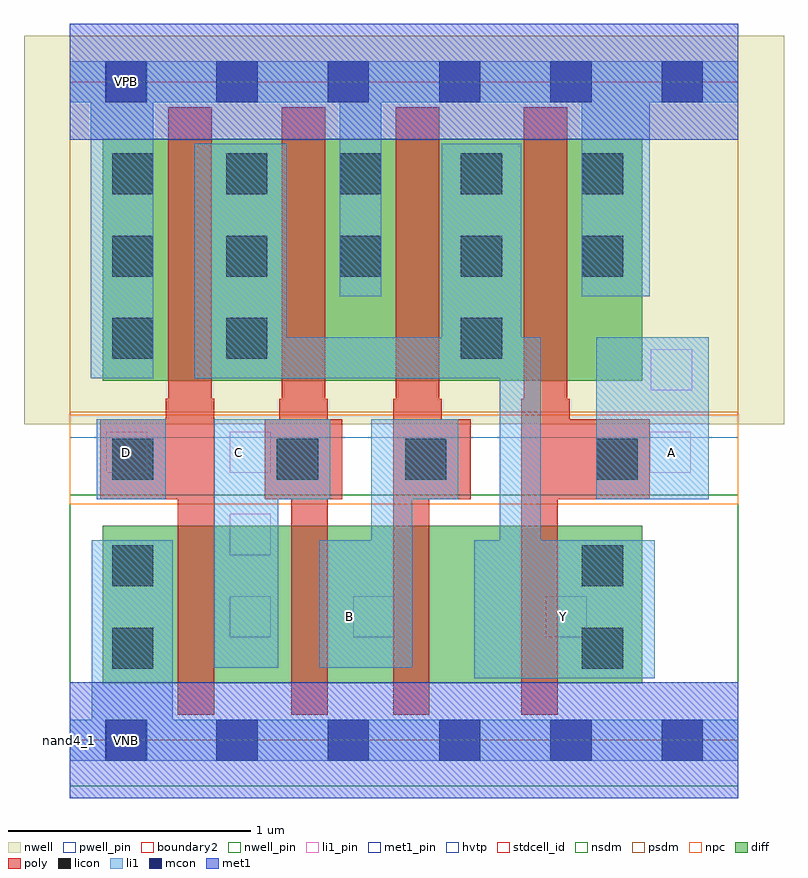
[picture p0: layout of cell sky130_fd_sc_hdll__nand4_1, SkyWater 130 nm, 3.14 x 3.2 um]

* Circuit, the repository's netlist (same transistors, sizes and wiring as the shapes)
* Copyright 2020 The SkyWater PDK Authors
*
* Licensed under the Apache License, Version 2.0 (the "License");
* you may not use this file except in compliance with the License.
* You may obtain a copy of the License at
*
*     https://www.apache.org/licenses/LICENSE-2.0
*
* Unless required by applicable law or agreed to in writing, software
* distributed under the License is distributed on an "AS IS" BASIS,
* WITHOUT WARRANTIES OR CONDITIONS OF ANY KIND, either express or implied.
* See the License for the specific language governing permissions and
* limitations under the License.
*
* SPDX-License-Identifier: Apache-2.0

.SUBCKT sky130_fd_sc_hdll__nand4_1 A B C D VGND VNB VPB VPWR Y
*.PININFO A:I B:I C:I D:I VGND:I VNB:I VPB:I VPWR:I Y:O
MMP0 Y A VPWR VPB sky130_fd_pr__pfet_01v8_hvt m=1 w=1.0U l=0.18U mult=1 sa=0.265
+ sb=0.265 sd=0.28 area=0.063 perim=1.14
MMP1 Y B VPWR VPB sky130_fd_pr__pfet_01v8_hvt m=1 w=1.0U l=0.18U mult=1 sa=0.265
+ sb=0.265 sd=0.28 area=0.063 perim=1.14
MMP3 Y D VPWR VPB sky130_fd_pr__pfet_01v8_hvt m=1 w=1.0U l=0.18U mult=1 sa=0.265
+ sb=0.265 sd=0.28 area=0.063 perim=1.14
MMP2 Y C VPWR VPB sky130_fd_pr__pfet_01v8_hvt m=1 w=1.0U l=0.18U mult=1 sa=0.265
+ sb=0.265 sd=0.28 area=0.063 perim=1.14
MMN0 Y A sndA VNB sky130_fd_pr__nfet_01v8 m=1 w=0.65U l=0.15U mult=1 sa=0.265 sb=0.265
+ sd=0.28 area=0.063 perim=1.14
MMN1 sndA B sndB VNB sky130_fd_pr__nfet_01v8 m=1 w=0.65U l=0.15U mult=1 sa=0.265
+ sb=0.265 sd=0.28 area=0.063 perim=1.14
MMN2 sndB C sndC VNB sky130_fd_pr__nfet_01v8 m=1 w=0.65U l=0.15U mult=1 sa=0.265
+ sb=0.265 sd=0.28 area=0.063 perim=1.14
MMN3 sndC D VGND VNB sky130_fd_pr__nfet_01v8 m=1 w=0.65U l=0.15U mult=1 sa=0.265
+ sb=0.265 sd=0.28 area=0.063 perim=1.14
.ENDS sky130_fd_sc_hdll__nand4_1

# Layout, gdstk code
import gdstk
lib = gdstk.Library(unit=1e-6, precision=1e-09)
def R(c, l, rs):  # rectangles x0, y0, x1, y1
    for r in rs: c.add(gdstk.rectangle(r[:2], r[2:], *l))
def A(c, l, x, y, w, h, nx, ny, dx, dy):  # array of equal rectangles
    R(c, l, [(x+i*dx, y+j*dy, x+i*dx+w, y+j*dy+h) for i in range(nx) for j in range(ny)])
def P(c, l, *ps):  # polygons
    for p in ps: c.add(gdstk.Polygon(p, *l))
nwell_pin = (64, 16)
nwell = (64, 20)
diff = (65, 20)
poly = (66, 20)
licon = (66, 44)
li1_pin = (67, 16)
li1 = (67, 20)
mcon = (67, 44)
met1_pin = (68, 16)
met1 = (68, 20)
hvtp = (78, 44)
stdcell_id = (81, 4)
nsdm = (93, 44)
psdm = (94, 20)
npc = (95, 20)
pwell_pin = (122, 16)
boundary2 = (236, 0)

sky130_fd_sc_hdll__nand4 = lib.new_cell('sky130_fd_sc_hdll__nand4_1')
R(sky130_fd_sc_hdll__nand4, nwell_pin, [(0.15,2.635,0.32,2.805)])
R(sky130_fd_sc_hdll__nand4, nwell, [(-0.19,1.305,2.95,2.91)])
R(sky130_fd_sc_hdll__nand4, diff, [(0.135,0.235,2.365,0.885), (0.135,1.485,2.365,2.485)])
P(sky130_fd_sc_hdll__nand4, poly, [(0.595,1.41),(0.585,1.41),(0.585,2.615),(0.405,2.615),(0.405,1.41),(0.395,1.41),(0.395,1.325),(0.125,1.325),(0.125,0.995),(0.445,0.995),(0.445,0.105),(0.595,0.105)],
  [(1.125,1.325),(1.065,1.325),(1.065,1.41),(1.055,1.41),(1.055,2.615),(0.875,2.615),(0.875,1.41),(0.865,1.41),(0.865,1.325),(0.805,1.325),(0.805,0.995),(0.915,0.995),(0.915,0.105),(1.065,0.105),(1.065,0.995),(1.125,0.995)],
  [(1.655,1.325),(1.535,1.325),(1.535,1.41),(1.525,1.41),(1.525,2.615),(1.345,2.615),(1.345,1.41),(1.335,1.41),(1.335,0.105),(1.485,0.105),(1.485,0.995),(1.655,0.995)],
  [(2.395,1.325),(2.065,1.325),(2.065,1.41),(2.055,1.41),(2.055,2.615),(1.875,2.615),(1.875,1.41),(1.865,1.41),(1.865,0.105),(2.015,0.105),(2.015,0.995),(2.395,0.995)])
A(sky130_fd_sc_hdll__nand4, licon, 1.615, 1.575, 0.17, 0.17, 1, 3, 0, 0.34)
A(sky130_fd_sc_hdll__nand4, licon, 0.175, 1.915, 0.17, 0.17, 3, 2, 0.47, 0.34)
R(sky130_fd_sc_hdll__nand4, licon, [(0.175,0.295,0.345,0.465), (2.115,0.295,2.285,0.465), (0.175,0.635,0.345,0.805), (2.115,0.635,2.285,0.805), (0.175,1.075,0.345,1.245), (0.855,1.075,1.025,1.245), (1.385,1.075,1.555,1.245), (2.175,1.075,2.345,1.245), (0.175,1.575,0.345,1.745), (0.645,1.575,0.815,1.745), (2.115,1.915,2.285,2.085), (2.115,2.255,2.285,2.425)])
A(sky130_fd_sc_hdll__nand4, li1_pin, 0.66, 0.425, 0.17, 0.17, 1, 3, 0, 0.34)
R(sky130_fd_sc_hdll__nand4, li1_pin, [(1.17,0.425,1.34,0.595), (1.965,0.425,2.135,0.595), (0.15,1.105,0.32,1.275), (2.395,1.105,2.565,1.275), (2.4,1.445,2.57,1.615)])
R(sky130_fd_sc_hdll__nand4, li1, [(0.11,0.995,0.395,1.325), (2.175,0.995,2.64,1.665)])
P(sky130_fd_sc_hdll__nand4, li1, [(2.415,0.825),(1.945,0.825),(1.945,1.665),(1.865,1.665),(1.865,2.465),(1.535,2.465),(1.535,1.665),(0.895,1.665),(0.895,2.465),(0.515,2.465),(0.515,1.495),(1.775,1.495),(1.775,0.825),(1.67,0.825),(1.67,0.255),(2.415,0.255)],
  [(2.76,0.085),(0.425,0.085),(0.425,0.825),(0.09,0.825),(0.09,0.085),(0,0.085),(0,-0.085),(2.76,-0.085)],
  [(1.605,1.325),(1.245,1.325),(1.245,0.825),(1.03,0.825),(1.03,0.3),(1.415,0.3),(1.415,0.995),(1.605,0.995)],
  [(2.76,2.805),(0,2.805),(0,2.635),(0.085,2.635),(0.085,1.495),(0.345,1.495),(0.345,2.635),(1.115,2.635),(1.115,1.835),(1.285,1.835),(1.285,2.635),(2.115,2.635),(2.115,1.835),(2.395,1.835),(2.395,2.635),(2.76,2.635)],
  [(1.075,1.325),(0.595,1.325),(0.595,0.3),(0.86,0.3),(0.86,0.995),(1.075,0.995)])
A(sky130_fd_sc_hdll__nand4, mcon, 0.145, -0.085, 0.17, 0.17, 6, 2, 0.46, 2.72)
R(sky130_fd_sc_hdll__nand4, met1_pin, [(0.15,-0.085,0.32,0.085), (0.15,2.635,0.32,2.805)])
R(sky130_fd_sc_hdll__nand4, met1, [(0,-0.24,2.76,0.24), (0,2.48,2.76,2.96)])
R(sky130_fd_sc_hdll__nand4, hvtp, [(0,1.25,2.76,2.72)])
R(sky130_fd_sc_hdll__nand4, stdcell_id, [(0,0,2.76,2.72)])
R(sky130_fd_sc_hdll__nand4, nsdm, [(0,-0.19,2.76,1.015)])
R(sky130_fd_sc_hdll__nand4, psdm, [(0,1.355,2.76,2.91)])
R(sky130_fd_sc_hdll__nand4, npc, [(0,0.975,2.76,1.345)])
R(sky130_fd_sc_hdll__nand4, pwell_pin, [(0.15,-0.085,0.32,0.085)])
R(sky130_fd_sc_hdll__nand4, boundary2, [(0,0,2.76,2.72)])
sky130_fd_sc_hdll__nand4.add(gdstk.Label('C', (0.695,1.19), layer=67, texttype=5))
sky130_fd_sc_hdll__nand4.add(gdstk.Label('B', (1.155,0.51), layer=67, texttype=5))
sky130_fd_sc_hdll__nand4.add(gdstk.Label('Y', (2.04,0.51), layer=67, texttype=5))
sky130_fd_sc_hdll__nand4.add(gdstk.Label('D', (0.235,1.19), layer=67, texttype=5))
sky130_fd_sc_hdll__nand4.add(gdstk.Label('A', (2.485,1.19), layer=67, texttype=5))
sky130_fd_sc_hdll__nand4.add(gdstk.Label('VPB', (0.235,2.72), layer=64, texttype=5))
sky130_fd_sc_hdll__nand4.add(gdstk.Label('VNB', (0.235,0), layer=64, texttype=59))
sky130_fd_sc_hdll__nand4.add(gdstk.Label('VPWR', (0.235,2.72), layer=68, texttype=5))
sky130_fd_sc_hdll__nand4.add(gdstk.Label('VGND', (0.235,0), layer=68, texttype=5))
sky130_fd_sc_hdll__nand4.add(gdstk.Label('nand4_1', (0,0), layer=83, texttype=44))

lib.write_gds('sky130_fd_sc_hdll__nand4_1.gds')
